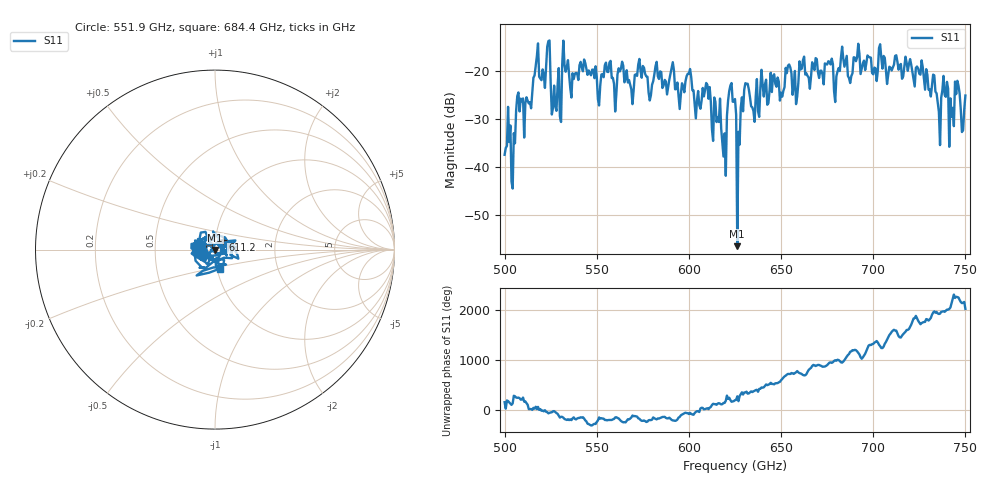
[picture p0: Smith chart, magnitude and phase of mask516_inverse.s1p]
!Created with skrf (http://scikit-rf.org).
# GHz S MA R 50.0
!freq magS11 angS11
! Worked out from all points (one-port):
!   401 points, 500 GHz to 750 GHz, reference 50 ohm
!   lowest |S11| = -56.4 dB at 626.2 GHz (marker M1), VSWR 1.00, Z = 50 - j0.15 ohm
!   |S11| at or under -10 dB: start of sweep to end of sweep
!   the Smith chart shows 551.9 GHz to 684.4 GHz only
!   S11 on the Smith chart (normalised r, x): 551.9 GHz: 0.87, -0.02; 611.2 GHz: 1.08, +0.11; 684.4 GHz: 1.03, -0.22
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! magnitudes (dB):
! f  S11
! 500 GHz  -37.4
! 505 GHz  -33.0
! 507.5 GHz  -24.5
! 513.8 GHz  -26.5
! 516.9 GHz  -19.0
! 523.8 GHz  -13.9
! 526.9 GHz  -23.1
! 531.2 GHz  -18.7
! 533.1 GHz  -20.2
! 551.9 GHz  -23.2
! 562.5 GHz  -20.2
! 593.8 GHz  -22.5
! 600 GHz  -20.7
! 611.2 GHz  -23.4
! 618.8 GHz  -37.8
! 623.1 GHz  -22.6
! 625 GHz  -25.9
! 626.2 GHz  -56.4
! 631.2 GHz  -22.8
! 635 GHz  -28.4
! 656.2 GHz  -25.0
! 684.4 GHz  -19.2
! 687.5 GHz  -22.6
! 718.8 GHz  -20.0
! 735.6 GHz  -28.6
! 739.4 GHz  -25.4
! 742.5 GHz  -29.6
! 750 GHz  -25.2
